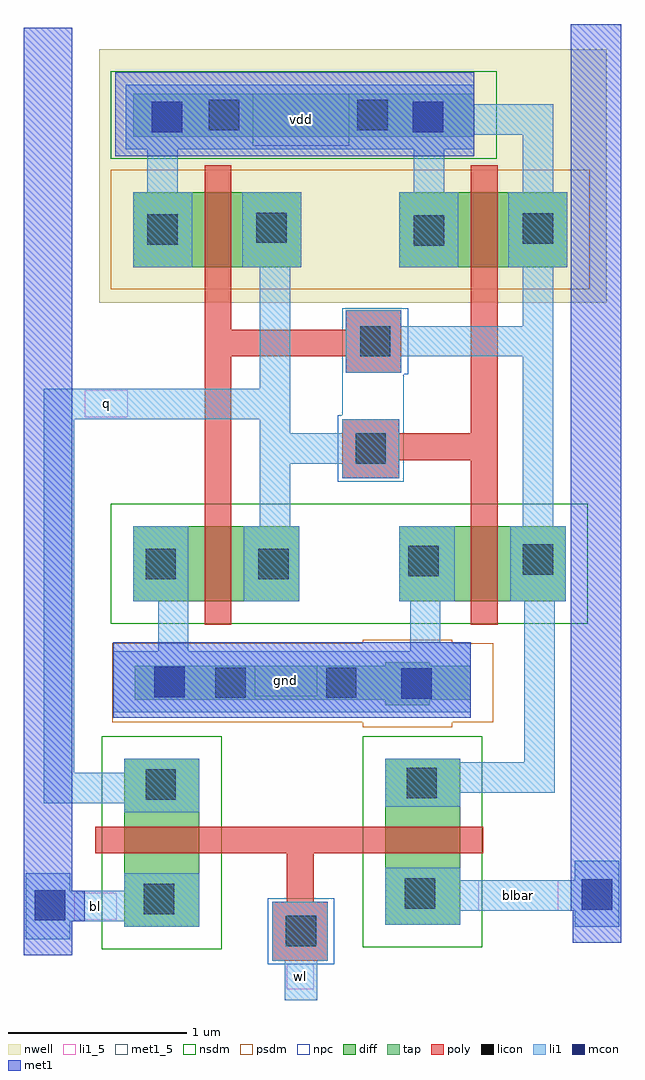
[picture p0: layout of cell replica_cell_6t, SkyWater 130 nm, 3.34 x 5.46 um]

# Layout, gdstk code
import gdstk
lib = gdstk.Library(unit=1e-6, precision=1e-09)
def R(c, l, rs):  # rectangles x0, y0, x1, y1
    for r in rs: c.add(gdstk.rectangle(r[:2], r[2:], *l))
nwell = (64, 20)
diff = (65, 20)
tap = (65, 44)
poly = (66, 20)
licon = (66, 44)
li1_5 = (67, 5)
li1 = (67, 20)
mcon = (67, 44)
met1_5 = (68, 5)
met1 = (68, 20)
nsdm = (93, 44)
psdm = (94, 20)
npc = (95, 20)

replica_cell_6t = lib.new_cell('replica_cell_6t')
R(replica_cell_6t, nwell, [(6.99,2.07,9.83,3.49)])
R(replica_cell_6t, diff, [(7.13,-1.42,7.55,-0.48), (8.59,-1.41,9.01,-0.48), (7.18,0.4,8.11,0.82), (8.67,0.4,9.6,0.82), (7.18,2.27,8.12,2.69), (8.67,2.27,9.61,2.69)])
R(replica_cell_6t, tap, [(8.59,-0.18,8.84,-0.15), (7.19,-0.15,9.07,0.04), (8.59,0.04,8.84,0.06), (7.18,3,9.09,3.24)])
R(replica_cell_6t, poly, [(7.96,-1.61,8.27,-1.28), (8.04,-1.28,8.19,-1.01), (6.97,-1.01,9.14,-0.86), (7.58,0.27,7.73,1.77), (9.07,0.27,9.22,1.19), (8.35,1.09,8.67,1.19), (8.35,1.19,9.22,1.34), (8.35,1.34,8.67,1.42), (9.07,1.34,9.22,2.84), (8.37,1.68,8.68,1.77), (7.58,1.77,8.68,1.92), (7.58,1.92,7.73,2.84), (8.37,1.92,8.68,2.03)])
R(replica_cell_6t, licon, [(8.035,-1.53,8.205,-1.36), (7.24,-1.35,7.41,-1.18), (8.7,-1.32,8.87,-1.15), (7.25,-0.71,7.42,-0.54), (8.71,-0.7,8.88,-0.53), (7.64,-0.14,7.81,0.03), (8.26,-0.14,8.43,0.03), (7.25,0.525,7.42,0.695), (7.88,0.525,8.05,0.695), (8.72,0.54,8.89,0.71), (9.36,0.55,9.53,0.72), (8.425,1.17,8.595,1.34), (8.45,1.77,8.62,1.94), (8.75,2.39,8.92,2.56), (7.26,2.395,7.43,2.565), (9.36,2.4,9.53,2.57), (7.87,2.405,8.04,2.575), (7.605,3.035,7.775,3.205), (8.435,3.035,8.605,3.205)])
R(replica_cell_6t, li1_5, [(8.04,-1.77,8.19,-1.63), (6.85,-1.38,7.09,-1.23), (9.11,-1.33,9.56,-1.16), (6.91,1.43,7.15,1.58)])
R(replica_cell_6t, li1, [(8.03,-1.83,8.21,-1.61), (7.96,-1.61,8.27,-1.28), (6.58,-1.49,6.83,-1.39), (7.13,-1.42,7.55,-1.39), (9.65,-1.42,9.9,-1.33), (8.59,-1.41,9.01,-1.33), (6.58,-1.39,7.55,-1.22), (8.59,-1.33,9.9,-1.16), (6.58,-1.22,6.83,-1.12), (7.13,-1.22,7.55,-1.12), (8.59,-1.16,9.01,-1.09), (9.65,-1.16,9.9,-1.05), (7.13,-0.78,7.55,-0.73), (8.59,-0.75,9.01,-0.67), (6.68,-0.73,7.55,-0.56), (8.59,-0.67,9.54,-0.5), (6.68,-0.56,6.85,1.42), (7.13,-0.56,7.55,-0.48), (8.59,-0.5,9.01,-0.48), (9.37,-0.5,9.54,0.4), (7.07,-0.22,9.07,0.12), (7.32,0.12,7.49,0.4), (8.73,0.12,9.07,0.17), (8.73,0.17,8.9,0.4), (7.18,0.4,7.49,0.82), (7.8,0.4,8.11,0.82), (8.67,0.4,8.98,0.82), (9.29,0.4,9.6,0.82), (7.89,0.82,8.06,1.17), (9.36,0.82,9.53,1.77), (8.35,1.09,8.67,1.17), (7.89,1.17,8.67,1.34), (7.89,1.34,8.06,1.42), (8.35,1.34,8.67,1.42), (6.68,1.42,8.06,1.59), (7.89,1.59,8.06,2.27), (8.37,1.68,8.68,1.77), (8.37,1.77,9.53,1.94), (8.37,1.94,8.68,2.03), (9.36,1.94,9.53,2.27), (7.18,2.27,7.51,2.69), (7.79,2.27,8.12,2.69), (8.67,2.27,9,2.69), (9.28,2.27,9.61,2.69), (7.26,2.69,7.43,2.93), (8.75,2.69,8.92,2.93), (9.36,2.69,9.53,3.01), (7.14,2.93,9.09,3.01), (7.14,3.01,9.53,3.18), (7.14,3.18,9.09,3.29)])
R(replica_cell_6t, mcon, [(6.63,-1.385,6.8,-1.215), (9.69,-1.325,9.86,-1.155), (8.68,-0.145,8.85,0.025), (7.3,-0.135,7.47,0.035), (7.285,3.025,7.455,3.195), (8.745,3.025,8.915,3.195)])
R(replica_cell_6t, met1_5, [(7.86,-0.13,8.21,0.04), (7.85,2.95,8.39,3.24)])
R(replica_cell_6t, met1, [(6.57,-1.58,6.84,-1.39), (9.64,-1.51,9.91,-1.33), (6.57,-1.39,6.91,-1.22), (9.63,-1.33,9.91,3.63), (6.57,-1.22,6.84,3.61), (7.07,-0.25,9.07,0.17), (7.08,2.89,9.09,3.36)])
R(replica_cell_6t, nsdm, [(7.005,-1.545,7.675,-0.355), (8.465,-1.535,9.135,-0.355), (7.055,0.275,9.725,0.945), (7.055,2.875,9.215,3.365)])
R(replica_cell_6t, psdm, [(8.465,-0.305,8.965,-0.275), (7.065,-0.275,9.195,0.165), (8.465,0.165,8.965,0.185), (7.055,2.145,9.735,2.815)])
R(replica_cell_6t, npc, [(7.935,-1.63,8.305,-1.26), (8.325,1.07,8.695,1.44), (8.35,1.44,8.695,1.67), (8.35,1.67,8.72,2.04)])
replica_cell_6t.add(gdstk.Label('wl', (8.115,-1.7), layer=67, texttype=5))
replica_cell_6t.add(gdstk.Label('blbar', (9.335,-1.245), layer=67, texttype=5))
replica_cell_6t.add(gdstk.Label('bl', (6.97,-1.305), layer=67, texttype=5))
replica_cell_6t.add(gdstk.Label('gnd', (8.035,-0.045), layer=68, texttype=5))
replica_cell_6t.add(gdstk.Label('q', (7.03,1.505), layer=67, texttype=5))
replica_cell_6t.add(gdstk.Label('vdd', (8.12,3.095), layer=68, texttype=5))

lib.write_gds('replica_cell_6t.gds')
